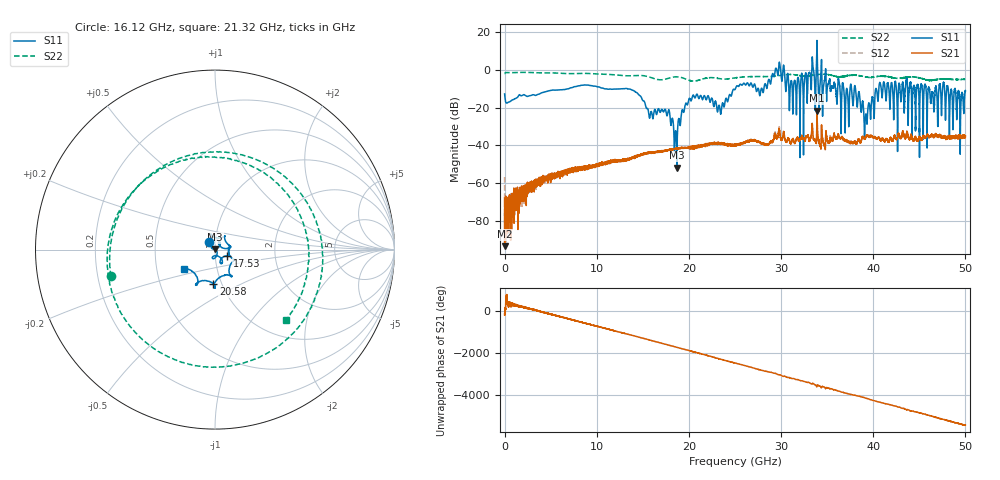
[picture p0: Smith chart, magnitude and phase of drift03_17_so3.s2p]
!Created with skrf (http://scikit-rf.org).
# Hz S RI R 50.0
!freq ReS11 ImS11 ReS21 ImS21 ReS12 ImS12 ReS22 ImS22
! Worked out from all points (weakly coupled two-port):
!   10001 points, 300 kHz to 50 GHz, reference 50 ohm
!   highest |S21| = -21.65 dB at 33.9 GHz (marker M1); lowest = -93.5 dB at 5.3 MHz (marker M2)
!   lowest |S11| = -51.9 dB at 18.7 GHz (marker M3), VSWR 1.01, Z = 50 + j0.253 ohm
!   |S11| at or under -10 dB: start of sweep to 6.948 GHz; 13.31 GHz to 25.05 GHz (11.73 GHz wide, 61.2 % of centre); 38.08 GHz to 40.27 GHz (2.195 GHz wide, 5.6 % of centre) (the widest 3 of 58)
!   |S22| runs from -5.9 to -1.3 dB; largest |S21 - S12| = 0.0076
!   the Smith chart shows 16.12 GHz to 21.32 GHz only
!   S11 on the Smith chart (normalised r, x): 16.12 GHz: 0.93, +0.08; 17.53 GHz: 1.14, -0.08; 20.58 GHz: 0.91, -0.36; 21.32 GHz: 0.69, -0.16
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300000  -0.2093 -0.0951  -0.000397 -4.48e-05  0.000158 0.00143  -0.7653 -0.1819
5299970  -0.2153 0.00727  4.12e-06 -2.08e-05  2.46e-05 -6.63e-05  -0.785 -0.00927
1.530291e9  0.2031 0.046  -0.000166 -0.000627  -5.34e-06 -0.000471  0.8482 0.0851
3.160281e9  -0.2185 -0.00856  0.000211 0.000913  3.39e-05 0.000968  -0.8448 -0.0245
4.665272e9  0.2634 0.0608  -1.26e-05 -0.00147  -3.76e-05 -0.00141  0.8181 0.1419
6.360262e9  -0.2997 0.000462  0.000676 0.0019  0.000497 0.00182  -0.8038 -0.0417
8.33525e9  0.284 -0.2683  -0.00243 -0.000823  -0.00219 -0.000982  0.6011 -0.5358
1.043024e10  -0.0425 0.3319  0.00247 -0.00169  0.00253 -0.0018  -0.0368 0.7706
1.201523e10  0.00722 -0.3087  -0.00278 0.00264  -0.00279 0.00242  0.1051 -0.7291
1.61152e10  -0.0321 0.0411  0.00599 0.00208  0.006 0.00225  -0.5798 -0.149
1.66702e10  0.0542 0.0758  0.00467 -0.00484  0.00466 -0.00495  -0.356 0.42
1.753019e10  0.0666 -0.0349  -0.00618 -0.00403  -0.00624 -0.00387  0.4976 0.2839
1.869519e10  -0.00023 0.00253  0.00264 0.00774  0.00237 0.00786  -0.0881 -0.6492
2.058018e10  -0.00862 -0.1911  -0.00672 -0.00398  -0.0082 -0.00448  0.3792 0.3348
2.132017e10  -0.1707 -0.1079  -0.00427 0.00906  -0.00488 0.00809  0.3956 -0.3925
2.500015e10  -0.2967 -0.0474  0.0078 0.00712  0.00783 0.00628  -0.1862 -0.5834
3.050512e10  0.2576 -0.0847  -0.00242 0.0129  -0.00244 0.0131  0.7414 -0.0579
3.213011e10  0.2061 0.3688  -0.000107 -0.0151  -0.000705 -0.015  -0.6944 0.019
3.33351e10  0.4139 -0.9929  -0.00414 0.0241  -0.00564 0.0241  0.6115 0.365
3.39001e10  1.536 -5.446  0.0731 0.0387  0.0699 0.0318  0.6726 -0.326
4.167005e10  -0.2111 0.2814  -0.0115 -0.00469  -0.0116 -0.00477  -0.6574 -0.0497
5e10  -0.1527 -0.2313  0.00301 -0.0176  0.000476 -0.0167  0.4656 -0.3189
